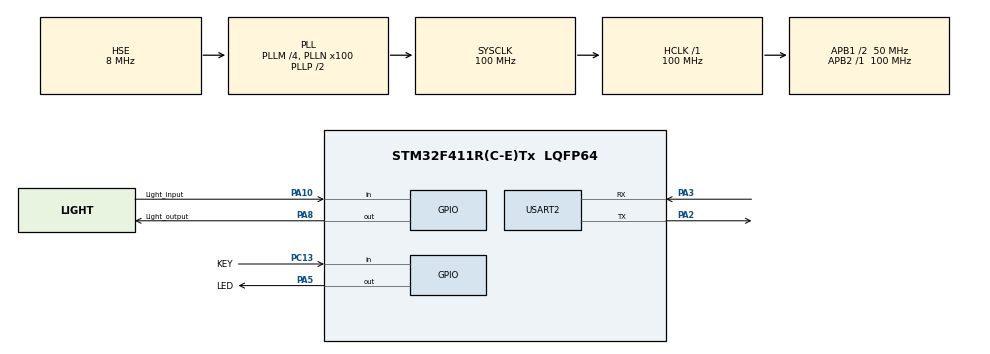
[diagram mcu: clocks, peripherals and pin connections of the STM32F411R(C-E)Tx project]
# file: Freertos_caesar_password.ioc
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FREERTOS.BinarySemaphores01=Usart,Dynamic,NULL
FREERTOS.Tasks01=ProcessTask,24,128,StartProcessTask,Default,NULL,Dynamic,NULL,NULL;ReceiveDataTask,32,128,StartReceiveDataTask,Default,NULL,Dynamic,NULL,NULL;ReceiveTask,24,128,StartReceiveTask,Default,NULL,Dynamic,NULL,NULL;TransmitTask,24,256,StartTransmitTask,Default,NULL,Dynamic,NULL,NULL;KeyScanTask,24,128,StartKeyScanTask,Default,NULL,Dynamic,NULL,NULL
FREERTOS.Timers01=DetectTimer,Callback1,osTimerPeriodic,Default,NULL,Dynamic,NULL
FREERTOS.configTIMER_QUEUE_LENGTH=20
FREERTOS.configTIMER_TASK_PRIORITY=3
FREERTOS.configTIMER_TASK_STACK_DEPTH=512
Mcu.Family=STM32F4
Mcu.Name=STM32F411R(C-E)Tx
Mcu.Package=LQFP64
NVIC.PriorityGroup=NVIC_PRIORITYGROUP_4
NVIC.TIM1_BRK_TIM9_IRQn=true\:5\:0\:false\:false\:true\:true\:true\:true\:true
NVIC.TIM1_TRG_COM_TIM11_IRQn=true\:15\:0\:false\:false\:true\:false\:false\:true\:true
NVIC.TimeBase=TIM1_TRG_COM_TIM11_IRQn
NVIC.TimeBaseIP=TIM11
NVIC.USART2_IRQn=true\:5\:0\:false\:false\:true\:true\:true\:true\:true
PA10.GPIO_Label=Light_input
PA10.Signal=GPIO_Input
PA13.Mode=Serial_Wire
PA13.Signal=SYS_JTMS-SWDIO
PA14.Mode=Serial_Wire
PA14.Signal=SYS_JTCK-SWCLK
PA2.Mode=Asynchronous
PA2.Signal=USART2_TX
PA3.Mode=Asynchronous
PA3.Signal=USART2_RX
PA5.GPIO_Label=LED
PA5.Signal=GPIO_Output
PA8.GPIO_Label=Light_output
PA8.Signal=GPIO_Output
PC13-ANTI_TAMP.GPIO_Label=KEY
PC13-ANTI_TAMP.Signal=GPIO_Input
PH0\ -\ OSC_IN.Mode=HSE-External-Clock-Source
PH0\ -\ OSC_IN.Signal=RCC_OSC_IN
PH1\ -\ OSC_OUT.Mode=HSE-External-Clock-Source
PH1\ -\ OSC_OUT.Signal=RCC_OSC_OUT
ProjectManager.HeapSize=0x200
ProjectManager.StackSize=0x400
ProjectManager.TargetToolchain=MDK-ARM V5.32
RCC.48MHZClocksFreq_Value=50000000
RCC.AHBFreq_Value=100000000
RCC.APB1CLKDivider=RCC_HCLK_DIV2
RCC.APB1Freq_Value=50000000
RCC.APB1TimFreq_Value=100000000
RCC.APB2Freq_Value=100000000
RCC.APB2TimFreq_Value=100000000
RCC.CortexFreq_Value=100000000
RCC.HCLKFreq_Value=100000000
RCC.HSE_VALUE=8000000
RCC.HSI_VALUE=16000000
RCC.LSE_VALUE=32768
RCC.PLLM=4
RCC.PLLN=100
RCC.PLLSourceVirtual=RCC_PLLSOURCE_HSE
RCC.SYSCLKFreq_VALUE=100000000
RCC.SYSCLKSource=RCC_SYSCLKSOURCE_PLLCLK
RCC.VCOOutputFreq_Value=200000000
TIM9.Period=49
TIM9.Prescaler=9999
USART2.VirtualMode=VM_ASYNC
VP_FREERTOS_VS_CMSIS_V2.Mode=CMSIS_V2
VP_SYS_VS_tim11.Mode=TIM11
VP_TIM9_VS_ClockSourceINT.Mode=Internal
board=custom

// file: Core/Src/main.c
/* USER CODE BEGIN Header */
/**
 ******************************************************************************
 * @file           : main.c
 * @brief          : Main program body
 ******************************************************************************
 * @attention
 *
 * Copyright (c) 2024 STMicroelectronics.
 * All rights reserved.
 *
 * This software is licensed under terms that can be found in the LICENSE file
 * in the root directory of this software component.
 * If no LICENSE file comes with this software, it is provided AS-IS.
 *
 ******************************************************************************
 */
/* USER CODE END Header */
#include "main.h"
#include "cmsis_os.h"
#include "tim.h"
#include "usart.h"
#include "gpio.h"

/* USER CODE BEGIN PV */
uint8_t RxBuffer[2048] = {0};     // 串口数据存储BUFF		长度2048
uint8_t RxFlag = 0;               // 串口接收完成标志
uint16_t RxCounter = 0;           // 串口长度计数
uint8_t RxTemp[1] = {0};          // 串口数据接收暂存BUFF	长度1
extern osSemaphoreId UsartHandle; // 操作系统定义的互斥量
/********************************************************************************/
/* USER CODE END PV */

void SystemClock_Config(void);
void MX_FREERTOS_Init(void);

int main(void)
{

  /* MCU Configuration--------------------------------------------------------*/

  /* Reset of all peripherals, Initializes the Flash interface and the Systick. */
  HAL_Init();

  /* Configure the system clock */
  SystemClock_Config();

  /* Initialize all configured peripherals */
  MX_GPIO_Init();
  MX_USART2_UART_Init();
  MX_TIM9_Init();
  /* USER CODE BEGIN 2 */

  /* creation of KeyQueue */
  /* USER CODE END 2 */

  /* Init scheduler */
  osKernelInitialize();

  /* Call init function for freertos objects (in freertos.c) */
  MX_FREERTOS_Init();

  /* Start scheduler */
  osKernelStart();

  /* We should never get here as control is now taken by the scheduler */
  /* Infinite loop */
  while (1)
  {

  }
}

void SystemClock_Config(void)
{
  RCC_OscInitTypeDef RCC_OscInitStruct = {0};
  RCC_ClkInitTypeDef RCC_ClkInitStruct = {0};

  /** Configure the main internal regulator output voltage
   */
  __HAL_RCC_PWR_CLK_ENABLE();
  __HAL_PWR_VOLTAGESCALING_CONFIG(PWR_REGULATOR_VOLTAGE_SCALE1);

  /** Initializes the RCC Oscillators according to the specified parameters
   * in the RCC_OscInitTypeDef structure.
   */
  RCC_OscInitStruct.OscillatorType = RCC_OSCILLATORTYPE_HSE;
  RCC_OscInitStruct.HSEState = RCC_HSE_BYPASS;
  RCC_OscInitStruct.PLL.PLLState = RCC_PLL_ON;
  RCC_OscInitStruct.PLL.PLLSource = RCC_PLLSOURCE_HSE;
  RCC_OscInitStruct.PLL.PLLM = 4;
  RCC_OscInitStruct.PLL.PLLN = 100;
  RCC_OscInitStruct.PLL.PLLP = RCC_PLLP_DIV2;
  RCC_OscInitStruct.PLL.PLLQ = 4;
  if (HAL_RCC_OscConfig(&RCC_OscInitStruct) != HAL_OK)
  {
    Error_Handler();
  }

  /** Initializes the CPU, AHB and APB buses clocks
   */
  RCC_ClkInitStruct.ClockType = RCC_CLOCKTYPE_HCLK | RCC_CLOCKTYPE_SYSCLK | RCC_CLOCKTYPE_PCLK1 | RCC_CLOCKTYPE_PCLK2;
  RCC_ClkInitStruct.SYSCLKSource = RCC_SYSCLKSOURCE_PLLCLK;
  RCC_ClkInitStruct.AHBCLKDivider = RCC_SYSCLK_DIV1;
  RCC_ClkInitStruct.APB1CLKDivider = RCC_HCLK_DIV2;
  RCC_ClkInitStruct.APB2CLKDivider = RCC_HCLK_DIV1;

  if (HAL_RCC_ClockConfig(&RCC_ClkInitStruct, FLASH_LATENCY_3) != HAL_OK)
  {
    Error_Handler();
  }
}

/* USER CODE BEGIN 4 */
void HAL_UART_RxCpltCallback(UART_HandleTypeDef *huart) // 串口2接收完成回调函数
{
  if (huart->Instance == USART2)
  {
    __HAL_TIM_SET_COUNTER(&htim9, 0);                   // 清除定时器9计数值
    if (RxCounter == 0)                                 // 如果是首字符（每帧数据开头）则开启定时器
    {                                                   //
      __HAL_TIM_CLEAR_FLAG(&htim9, TIM_FLAG_UPDATE);    // 清除中断标志位
      HAL_TIM_Base_Start_IT(&htim9);                    // 开启基本定时器
    }                                                   //
    RxBuffer[RxCounter] = RxTemp[0];                    // 缓存数据放入接收数组
    RxCounter++;                                        // 计数器加1
    HAL_UART_Receive_IT(&huart2, (uint8_t *)RxTemp, 1); // 重新使能中断
  }
}
/* USER CODE END 4 */

void HAL_TIM_PeriodElapsedCallback(TIM_HandleTypeDef *htim)
{
  if (htim->Instance == TIM11)
  {
    HAL_IncTick();
  }
  /* USER CODE BEGIN Callback 1 */
  if (htim->Instance == TIM9)
  {
    RxFlag = 1;                      // 接收标志位置1
    HAL_TIM_Base_Stop_IT(&htim9);    // 关闭定时器
    osSemaphoreRelease(UsartHandle); // 释放二值信号量，进入串口任务
  }
  /* USER CODE END Callback 1 */
}

void Error_Handler(void)
{
  __disable_irq();
  while (1)
  {
  }
}

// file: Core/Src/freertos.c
/* USER CODE BEGIN Header */
/**
 ******************************************************************************
 * File Name          : freertos.c
 * Description        : Code for freertos applications
 ******************************************************************************
 * @attention
 *
 * Copyright (c) 2024 STMicroelectronics.
 * All rights reserved.
 *
 * This software is licensed under terms that can be found in the LICENSE file
 * in the root directory of this software component.
 * If no LICENSE file comes with this software, it is provided AS-IS.
 *
 ******************************************************************************
 */
/* USER CODE END Header */

#include "FreeRTOS.h"
#include "task.h"
#include "main.h"
#include "cmsis_os.h"
/* USER CODE BEGIN Includes */
#include "usart.h"
#include "stdio.h"
#include "KEY.h"
/* USER CODE END Includes */

/* USER CODE BEGIN PTD */
typedef enum
{
  OUTPUT = 0,
  EZINPUT = 1,
  INPUT = 2
} PUT_STATE; // 长按按键切换状濿

typedef enum
{
  mode1 = 0,
  mode2 = 1,
  mode3 = 2
} LED_STATE; // LED灯的模式（T：2s，4s，6s）
/* USER CODE END PTD */

/* USER CODE BEGIN PD */
#define Bright GPIO_PIN_SET // 接收到亮信号
#define Dark GPIO_PIN_RESET // 接收到暗信号
/* USER CODE END PD */

/* USER CODE BEGIN Variables */
PUT_STATE PutState = OUTPUT; // 默认为输出信号模式
LED_STATE LedState = mode1;  // 默认为mode1

uint8_t Key_flag = 0; // 按键标志量（0.无 1.单击 3.长按）

uint32_t Bright_time = 0; // 代表亮起的单位时间
uint32_t Dark_time = 0;   // 代表熄灭的单位时间

uint8_t Receive_morse[100] = {0}; // 数组储存接收摩尔斯密码
uint8_t Receive_str[200] = {0};   // 数组储存接收字符串
uint8_t Receive_morse_len = 0;    // 接收摩尔斯密码长度
uint8_t Receive_str_len = 0;      // 接收字符串长度
uint8_t Space_num = 0;            // 接收字符串中的空格数

uint8_t Transmit_morse[100] = {0}; // 数组储存发送摩尔斯密码
uint8_t Transmit_morse_len = 0;    // 发送摩尔斯密码长度

uint8_t Start_receive = 0;  // 串口发送后启动接收信号
uint8_t Start_transmit = 0; // 串口发送后启动发送信号
uint8_t Start_ezinput = 0;  // 开始EZINPUT模式
uint8_t Start_input = 0;    // 开始INPUT模式
uint8_t Process = 0;        // 处理信号进程
int T = 0;                  // 定义T
/* USER CODE END Variables */
/* Definitions for ProcessTask */
osThreadId_t ProcessTaskHandle;
const osThreadAttr_t ProcessTask_attributes = {
    .name = "ProcessTask",
    .stack_size = 128 * 4,
    .priority = (osPriority_t)osPriorityNormal,
};
/* Definitions for ReceiveDataTask */
osThreadId_t ReceiveDataTaskHandle;
const osThreadAttr_t ReceiveDataTask_attributes = {
    .name = "ReceiveDataTask",
    .stack_size = 128 * 4,
    .priority = (osPriority_t)osPriorityAboveNormal,
};
/* Definitions for ReceiveTask */
osThreadId_t ReceiveTaskHandle;
const osThreadAttr_t ReceiveTask_attributes = {
    .name = "ReceiveTask",
    .stack_size = 128 * 4,
    .priority = (osPriority_t)osPriorityNormal,
};
/* Definitions for TransmitTask */
osThreadId_t TransmitTaskHandle;
const osThreadAttr_t TransmitTask_attributes = {
    .name = "TransmitTask",
    .stack_size = 256 * 4,
    .priority = (osPriority_t)osPriorityNormal,
};
/* Definitions for KeyScanTask */
osThreadId_t KeyScanTaskHandle;
const osThreadAttr_t KeyScanTask_attributes = {
    .name = "KeyScanTask",
    .stack_size = 128 * 4,
    .priority = (osPriority_t)osPriorityNormal,
};
/* Definitions for DetectTimer */
osTimerId_t DetectTimerHandle;
const osTimerAttr_t DetectTimer_attributes = {
    .name = "DetectTimer"};
/* Definitions for Usart */
osSemaphoreId_t UsartHandle;
const osSemaphoreAttr_t Usart_attributes = {
    .name = "Usart"};

/* USER CODE BEGIN FunctionPrototypes */

/**
 * @brief 按下按键就退出的延时函数
 *
 * @param ms：时间（ms）
 */
void Delay_break(uint32_t ms)
{
  for (uint16_t i = 0; i < ms / 10; i++)
  {
    if (Key_flag)
      break;
    else
      osDelay(10);
  }
}
/**
 * @brief 接收字符串后解析密码
 *
 * @param str：接收字符串
 * @param str_len：接收字符串的长度
 * @param t：第t位字母替换为第一个字母，以此类推
 */
void Transform_password(uint8_t str[], uint8_t str_len, int t)
{
  for (int i = 0; i < str_len; i++)
  {
    if (str[i] >= 'a' && str[i] <= 'z')
    {
      str[i] = (str[i] - 'a' - t + 26) % 26 + 'a';
    }
  };
}
/**
 * @brief 用于检测字符串前len位是否相同
 *
 * @param str1：第一个字符串
 * @param str2：第二个字符串
 * @param len：检测长度
 * @return int
 */
int Judge_str(uint8_t str1[], const char str2[], int len)
{
  for (int i = 0; i < len; i++)
  {
    if (str1[i] == str2[i])
      continue;
    else
      return 0;
  }
  return 1;
}
/**
 * @brief 接收到的摩尔斯密码转换成字符串
 *
 * @param receive_morse：接收摩尔斯密码
 * @param receive_str：接收字符串
 * @param receive_morse_len：摩尔斯密码长度
 * @param receive_str_len：转换后的摩尔斯密码储存在这一位
 */
void Morse_to_str(uint8_t receive_morse[], uint8_t receive_str[], uint8_t receive_morse_len, uint8_t receive_str_len)
{
  switch (receive_morse_len)
  {
  case 1:
    if (Judge_str(receive_morse, ".", receive_morse_len))
      receive_str[receive_str_len] = 'e';
    if (Judge_str(receive_morse, "-", receive_morse_len))
      receive_str[receive_str_len] = 't';
    break;
  case 2:
    if (Judge_str(receive_morse, ".-", receive_morse_len))
      receive_str[receive_str_len] = 'a';
    if (Judge_str(receive_morse, "..", receive_morse_len))
      receive_str[receive_str_len] = 'i';
    if (Judge_str(receive_morse, "--", receive_morse_len))
      receive_str[receive_str_len] = 'm';
    if (Judge_str(receive_morse, "-.", receive_morse_len))
      receive_str[receive_str_len] = 'n';
    break;
  case 3:
    if (Judge_str(receive_morse, "-..", receive_morse_len))
      receive_str[receive_str_len] = 'd';
    if (Judge_str(receive_morse, "--.", receive_morse_len))
      receive_str[receive_str_len] = 'g';
    if (Judge_str(receive_morse, "-.-", receive_morse_len))
      receive_str[receive_str_len] = 'k';
    if (Judge_str(receive_morse, "---", receive_morse_len))
      receive_str[receive_str_len] = 'o';
    if (Judge_str(receive_morse, ".-.", receive_morse_len))
      receive_str[receive_str_len] = 'r';
    if (Judge_str(receive_morse, "...", receive_morse_len))
      receive_str[receive_str_len] = 's';
    if (Judge_str(receive_morse, "..-", receive_morse_len))
      receive_str[receive_str_len] = 'u';
    if (Judge_str(receive_morse, ".--", receive_morse_len))
      receive_str[receive_str_len] = 'w';
    break;
  case 4:
    if (Judge_str(receive_morse, "-...", receive_morse_len))
      receive_str[receive_str_len] = 'b';
    if (Judge_str(receive_morse, "-.-.", receive_morse_len))
      receive_str[receive_str_len] = 'c';
    if (Judge_str(receive_morse, "..-.", receive_morse_len))
      receive_str[receive_str_len] = 'f';
    if (Judge_str(receive_morse, "....", receive_morse_len))
      receive_str[receive_str_len] = 'h';
    if (Judge_str(receive_morse, ".---", receive_morse_len))
      receive_str[receive_str_len] = 'j';
    if (Judge_str(receive_morse, ".-..", receive_morse_len))
      receive_str[receive_str_len] = 'l';
    if (Judge_str(receive_morse, ".--.", receive_morse_len))
      receive_str[receive_str_len] = 'p';
    if (Judge_str(receive_morse, "--.-", receive_morse_len))
      receive_str[receive_str_len] = 'q';
    if (Judge_str(receive_morse, "...-", receive_morse_len))
      receive_str[receive_str_len] = 'v';
    if (Judge_str(receive_morse, "-..-", receive_morse_len))
      receive_str[receive_str_len] = 'x';
    if (Judge_str(receive_morse, "-.--", receive_morse_len))
      receive_str[receive_str_len] = 'y';
    if (Judge_str(receive_morse, "--..", receive_morse_len))
      receive_str[receive_str_len] = 'z';
    break;
  }
}
/**
 * @brief 快速分配数据
 *
 * @param morse：摩尔斯数组
 * @param str:要分配的数据
 * @param len：分配数据长度
 */
void Assign_str(uint8_t transmit_morse[], const uint8_t str[], uint8_t len)
{
  for (int i = 0; i < len; i++)
    transmit_morse[Transmit_morse_len++] = str[i];
  transmit_morse[Transmit_morse_len++] = 'l';
}
/**
 * @brief 串口接收到的字符串转换成摩尔斯密码
 *
 * @param transmit_str：串口接收到的字符串
 * @param transmit_morse：要转化的摩尔斯密码
 * @param transmit_str_len：串口接收到的字符串长度
 */
void Str_to_morse(uint8_t transmit_str[], uint8_t transmit_morse[], uint8_t transmit_str_len)
{
  for (int i = 0; i < transmit_str_len; i++)
  {
    if (transmit_str[i] != ' ')
    {
      switch (transmit_str[i])
      {
      case 'a':
        Assign_str(transmit_morse, ".-", 2);
        break;
      case 'b':
        Assign_str(transmit_morse, "-...", 4);
        break;
      case 'c':
        Assign_str(transmit_morse, "-.-.", 4);
        break;
      case 'd':
        Assign_str(transmit_morse, "-..", 3);
        break;
      case 'e':
        Assign_str(transmit_morse, ".", 1);
        break;
      case 'f':
        Assign_str(transmit_morse, "..-.", 4);
        break;
      case 'g':
        Assign_str(transmit_morse, "--.", 3);
        break;
      case 'h':
        Assign_str(transmit_morse, "....", 4);
        break;
      case 'i':
        Assign_str(transmit_morse, "..", 2);
        break;
      case 'j':
        Assign_str(transmit_morse, ".---", 4);
        break;
      case 'k':
        Assign_str(transmit_morse, "-.-", 3);
        break;
      case 'l':
        Assign_str(transmit_morse, ".-..", 4);
        break;
      case 'm':
        Assign_str(transmit_morse, "--", 2);
        break;
      case 'n':
        Assign_str(transmit_morse, "-.", 2);
        break;
      case 'o':
        Assign_str(transmit_morse, "---", 3);
        break;
      case 'p':
        Assign_str(transmit_morse, ".--.", 4);
        break;
      case 'q':
        Assign_str(transmit_morse, "--.-", 4);
        break;
      case 'r':
        Assign_str(transmit_morse, ".-.", 3);
        break;
      case 's':
        Assign_str(transmit_morse, "...", 3);
        break;
      case 't':
        Assign_str(transmit_morse, "-", 1);
        break;
      case 'u':
        Assign_str(transmit_morse, "..-", 3);
        break;
      case 'v':
        Assign_str(transmit_morse, "...-", 4);
        break;
      case 'w':
        Assign_str(transmit_morse, ".--", 3);
        break;
      case 'x':
        Assign_str(transmit_morse, "-..-", 4);
        break;
      case 'y':
        Assign_str(transmit_morse, "-.--", 4);
        break;
      case 'z':
        Assign_str(transmit_morse, "--..", 4);
        break;
      }
    }
    else
      transmit_morse[Transmit_morse_len - 1] = 'w';
  }
  transmit_morse[Transmit_morse_len - 1] = 's';
}
/**
 * @brief 将摩尔斯密码转换成信号并发送
 *
 * @param transmit_morse：摩尔斯密码
 * @param transmit_morse_len：摩尔斯密码长度
 */
void Morse_to_signal(uint8_t transmit_morse[], uint8_t transmit_morse_len)
{
  for (int i = 0; i < transmit_morse_len; i++)
  {
    switch (transmit_morse[i])
    {
    case 'l':
      HAL_GPIO_WritePin(LED_GPIO_Port, LED_Pin, GPIO_PIN_RESET);
      HAL_GPIO_WritePin(Light_output_GPIO_Port, Light_output_Pin, GPIO_PIN_RESET);
      osDelay(20);
      break;
    case 'w':
      HAL_GPIO_WritePin(LED_GPIO_Port, LED_Pin, GPIO_PIN_RESET);
      HAL_GPIO_WritePin(Light_output_GPIO_Port, Light_output_Pin, GPIO_PIN_RESET);
      osDelay(60);
      break;
    case 's':
      HAL_GPIO_WritePin(LED_GPIO_Port, LED_Pin, GPIO_PIN_RESET);
      HAL_GPIO_WritePin(Light_output_GPIO_Port, Light_output_Pin, GPIO_PIN_RESET);
      osDelay(70);
      break;
    case '.':
      HAL_GPIO_WritePin(LED_GPIO_Port, LED_Pin, GPIO_PIN_SET);
      HAL_GPIO_WritePin(Light_output_GPIO_Port, Light_output_Pin, GPIO_PIN_SET);
      osDelay(10);
      HAL_GPIO_WritePin(LED_GPIO_Port, LED_Pin, GPIO_PIN_RESET);
      HAL_GPIO_WritePin(Light_output_GPIO_Port, Light_output_Pin, GPIO_PIN_RESET);
      osDelay(10);
      break;
    case '-':
      HAL_GPIO_WritePin(LED_GPIO_Port, LED_Pin, GPIO_PIN_SET);
      HAL_GPIO_WritePin(Light_output_GPIO_Port, Light_output_Pin, GPIO_PIN_SET);
      osDelay(30);
      HAL_GPIO_WritePin(LED_GPIO_Port, LED_Pin, GPIO_PIN_RESET);
      HAL_GPIO_WritePin(Light_output_GPIO_Port, Light_output_Pin, GPIO_PIN_RESET);
      osDelay(10);
      break;
    }
  }
}
/* USER CODE END FunctionPrototypes */

void StartProcessTask(void *argument);
void StartReceiveDataTask(void *argument);
void StartReceiveTask(void *argument);
void StartTransmitTask(void *argument);
void StartKeyScanTask(void *argument);
void Callback1(void *argument);

void MX_FREERTOS_Init(void); /* (MISRA C 2004 rule 8.1) */

void MX_FREERTOS_Init(void)
{

  /* Create the semaphores(s) */
  /* creation of Usart */
  UsartHandle = osSemaphoreNew(1, 0, &Usart_attributes);

  /* Create the timer(s) */
  /* creation of DetectTimer */
  DetectTimerHandle = osTimerNew(Callback1, osTimerPeriodic, NULL, &DetectTimer_attributes);

  /* Create the thread(s) */
  /* creation of ProcessTask */
  ProcessTaskHandle = osThreadNew(StartProcessTask, NULL, &ProcessTask_attributes);

  /* creation of ReceiveDataTask */
  ReceiveDataTaskHandle = osThreadNew(StartReceiveDataTask, NULL, &ReceiveDataTask_attributes);

  /* creation of ReceiveTask */
  ReceiveTaskHandle = osThreadNew(StartReceiveTask, NULL, &ReceiveTask_attributes);

  /* creation of TransmitTask */
  TransmitTaskHandle = osThreadNew(StartTransmitTask, NULL, &TransmitTask_attributes);

  /* creation of KeyScanTask */
  KeyScanTaskHandle = osThreadNew(StartKeyScanTask, NULL, &KeyScanTask_attributes);

}

void StartProcessTask(void *argument)
{
  /* USER CODE BEGIN StartProcessTask */
  HAL_UART_Receive_IT(&huart2, (uint8_t *)RxTemp, 1); // 串口启动
  Key_Init(KEY0, KEY_GPIO_Port, KEY_Pin, PULL_UP);    // 按键初始化
  osTimerStart(DetectTimerHandle, 10);                // 启动Timer（周期10ms）
  /* Infinite loop */
  while (1) // 处理信号
  {
    switch (Process)
    {
    case 1: // 间隔一个单位时间
      if (Bright_time == 1)
        Receive_morse[Receive_morse_len++] = '.';
      else if (Bright_time == 3)
        Receive_morse[Receive_morse_len++] = '-';
      Bright_time = 0;
      Process = 0;
      break;
    case 3: // 间隔三个单位时间
      printf("Morse:");
      for (int i = 0; i < Receive_morse_len; i++)
        printf("%c", Receive_morse[i]);
      printf("\r\n");
      Morse_to_str(Receive_morse, Receive_str, Receive_morse_len, Receive_str_len++);
      memset(Receive_morse, 0, 50);
      Receive_morse_len = 0;
      for (int i = 0; i < Receive_str_len; i++)
        printf("%c", Receive_str[i]);
      printf("\r\n");
      Process = 0;
      break;
    case 7: // 间隔七个单位时间
      Receive_str[Receive_str_len++] = ' ';
      Space_num++;
      Process = 0;
      break;
    case 8: // 间隔时间大于七,发送字符串
      Receive_str[--Receive_str_len] = 0;
      Space_num--;
      T = (Receive_str_len - Space_num) % 7;
      printf("Str_len:%d\r\n", Receive_str_len);
      printf("Space:%d\r\n", Space_num);
      printf("T:%d\r\n", T);
      Transform_password(Receive_str, Receive_str_len, T - 1);
      printf("EndStr:");
      for (int i = 0; i < Receive_str_len; i++)
        printf("%c", Receive_str[i]);
      printf(".\r\n\r\n");
      memset(Receive_str, 0, Receive_str_len);
      Receive_str_len = 0;
      Space_num = 0;
      Dark_time = 0;
      Start_input = 0;
      Start_receive = 0;
      Process = 0;
      break;
    }
    osDelay(5);
  }

  /* USER CODE END StartProcessTask */
}

void StartReceiveDataTask(void *argument)
{
  /* USER CODE BEGIN StartReceiveDataTask */
  /* Infinite loop */
  while (1)
  {
    osSemaphoreAcquire(UsartHandle, osWaitForever); // 等待二值信号量
    if (RxFlag == 1)                                // 数据接收完成
    {
      for (int i = 0; i < RxCounter; i++) // 打印接收数组存储的内容
        printf("%c", RxBuffer[i]);
      printf("\r\n");                                    // 打印完成换行
      RxFlag = 0;                                        // 接收标志清零
      Str_to_morse(RxBuffer, Transmit_morse, RxCounter); // 转换接收字符串到摩尔斯密码
      memset(RxBuffer, 0, 2048);                         // 清空接收数组
      RxCounter = 0;
    }
    printf("Morse:");
    for (int i = 0; i < Transmit_morse_len; i++)
      printf("%c", Transmit_morse[i]);
    printf("\r\n");     // 打印转换后的摩尔斯密码
    Start_receive = 1;  // 启动接收
    Start_transmit = 1; // 启动发送
  }
  /* USER CODE END StartReceiveDataTask */
}

void StartReceiveTask(void *argument)
{
  /* USER CODE BEGIN StartReceiveTask */
  /* Infinite loop */
  while (1)
  {
    switch (PutState) // 仅用于EZINPUT模式
    {
    case EZINPUT:
      if (HAL_GPIO_ReadPin(Light_input_GPIO_Port, Light_input_Pin) == Bright)
      {
        Bright_time++;
        Start_ezinput = 1; // 检测到第一个光信号后启动后续检测
      }
      if (HAL_GPIO_ReadPin(Light_input_GPIO_Port, Light_input_Pin) == Dark && Start_ezinput)
        Dark_time++;
      if (Bright_time > 350 || Dark_time > 350) // 错误提醒并重置
      {
        printf("Error in the ReceiveSignal!\r\n");
        Bright_time = 0;
        Dark_time = 0;
      }
      if (Bright_time / 10 == Dark_time / 10) // 误差容忍
      {
        switch (Bright_time / 10)
        {
        case 10:
        {
          printf("Fight!\r\n");
          Bright_time = 0;
          Dark_time = 0;
          Start_ezinput = 0;
          break;
        }
        case 20:
        {
          printf("Retreat!\r\n");
          Bright_time = 0;
          Dark_time = 0;
          Start_ezinput = 0;
          break;
        }
        case 30:
        {
          printf("Come!\r\n");
          Bright_time = 0;
          Dark_time = 0;
          Start_ezinput = 0;
          break;
        }
        }
      }
      break;
    default:
      break;
    }
    osDelay(10);
    /* USER CODE END StartReceiveTask */
  }
}

void StartTransmitTask(void *argument)
{
  /* USER CODE BEGIN StartTransmitTask */
  /* Infinite loop */
  while (1)
  {
    switch (PutState)
    {
    case OUTPUT:
    case EZINPUT:
      if (!Key_flag)
      {
        switch (LedState)
        {
        case mode1:
          HAL_GPIO_WritePin(LED_GPIO_Port, LED_Pin, GPIO_PIN_SET);
          HAL_GPIO_WritePin(Light_output_GPIO_Port, Light_output_Pin, GPIO_PIN_SET);
          Delay_break(1000);
          HAL_GPIO_WritePin(LED_GPIO_Port, LED_Pin, GPIO_PIN_RESET);
          HAL_GPIO_WritePin(Light_output_GPIO_Port, Light_output_Pin, GPIO_PIN_RESET);
          Delay_break(1000);
          break;
        case mode2:
          HAL_GPIO_WritePin(LED_GPIO_Port, LED_Pin, GPIO_PIN_SET);
          HAL_GPIO_WritePin(Light_output_GPIO_Port, Light_output_Pin, GPIO_PIN_SET);
          Delay_break(2000);
          HAL_GPIO_WritePin(LED_GPIO_Port, LED_Pin, GPIO_PIN_RESET);
          HAL_GPIO_WritePin(Light_output_GPIO_Port, Light_output_Pin, GPIO_PIN_RESET);
          Delay_break(2000);
          break;
        case mode3:
          HAL_GPIO_WritePin(LED_GPIO_Port, LED_Pin, GPIO_PIN_SET);
          HAL_GPIO_WritePin(Light_output_GPIO_Port, Light_output_Pin, GPIO_PIN_SET);
          Delay_break(3000);
          HAL_GPIO_WritePin(LED_GPIO_Port, LED_Pin, GPIO_PIN_RESET);
          HAL_GPIO_WritePin(Light_output_GPIO_Port, Light_output_Pin, GPIO_PIN_RESET);
          Delay_break(3000);
          break;
        }
      }
      break;
    case INPUT:
      if (Start_transmit)
      {
        printf("Transmit!\r\n");
        osDelay(20); // 延时一定时间有效提高检测成功率
        Morse_to_signal(Transmit_morse, Transmit_morse_len);
        memset(Transmit_morse, 0, Transmit_morse_len);
        Transmit_morse_len = 0;
        Start_transmit = 0;
      }
      break;
    default:
      break;
    }
  }
  vTaskDelete(NULL);

  /* USER CODE END StartTransmitTask */
}

void StartKeyScanTask(void *argument)
{
  /* USER CODE BEGIN StartKeyScanTask */
  /* Infinite loop */
  while (1)
  {
    osDelay(10);
    Key_pressscan(KEY0, &Key_flag); // 仅检测单击与长按,单击检测为松开按键一瞬间
    if (Key_flag == 1)
    {
      HAL_GPIO_WritePin(LED_GPIO_Port, LED_Pin, GPIO_PIN_RESET);
      HAL_GPIO_WritePin(Light_output_GPIO_Port, Light_output_Pin, GPIO_PIN_RESET);
      Bright_time = 0;
      Dark_time = 0;
      Start_ezinput = 0;
      Start_input = 0;
      osDelay(100);
      if (LedState < mode3)
      {
        LedState++;
        printf("Ledmode:%d.\r\n", LedState + 1);
      }
      else
      {
        LedState = mode1;
        printf("Ledmode:1.\r\n");
      }
      Key_flag = 0;
    }
    if (Key_flag == 3)
    {
      HAL_GPIO_WritePin(LED_GPIO_Port, LED_Pin, GPIO_PIN_RESET);
      HAL_GPIO_WritePin(Light_output_GPIO_Port, Light_output_Pin, GPIO_PIN_RESET);
      Bright_time = 0;
      Dark_time = 0;
      Start_ezinput = 0;
      Start_input = 0;
      if (PutState < INPUT)
        PutState++;
      else
        PutState = OUTPUT;
      switch (PutState)
      {
      case OUTPUT:
        printf("OUTPUT.\r\n");
        break;
      case EZINPUT:
        printf("EZINPUT.\r\n");
        break;
      case INPUT:
        printf("INPUT.\r\n");
        break;
      default:
        break;
      }
      Key_flag = 0;
    }
  }
  vTaskDelete(NULL);
  /* USER CODE END StartKeyScanTask */
}

/* Callback1 function */
void Callback1(void *argument)
{
  /* USER CODE BEGIN Callback01 */
  switch (PutState) // 仅用于INPUT模式
  {
  case INPUT:
  {
    if (Start_receive)
    {
      if (HAL_GPIO_ReadPin(Light_input_GPIO_Port, Light_input_Pin) == Bright)
      {
        if (!Start_input)
        {
          Start_input = 1;
          printf("Receive!\r\n");
        }
        Bright_time++;
        Dark_time = 0;
      }
      else if (HAL_GPIO_ReadPin(Light_input_GPIO_Port, Light_input_Pin) == Dark && Start_input)
      {
        Dark_time++;
        switch (Dark_time)
        {
        case 1:
          if (!Process)
            Process = 1;
          break;
        case 3:
          if (!Process)
            Process = 3;
          break;
        case 7:
          if (!Process)
            Process = 7;
          break;
        default:
          break;
        }
        if (Dark_time > 7 && !Process)
          Process = 8;
      }
    }
  }
  default:
    break;
  }
}
